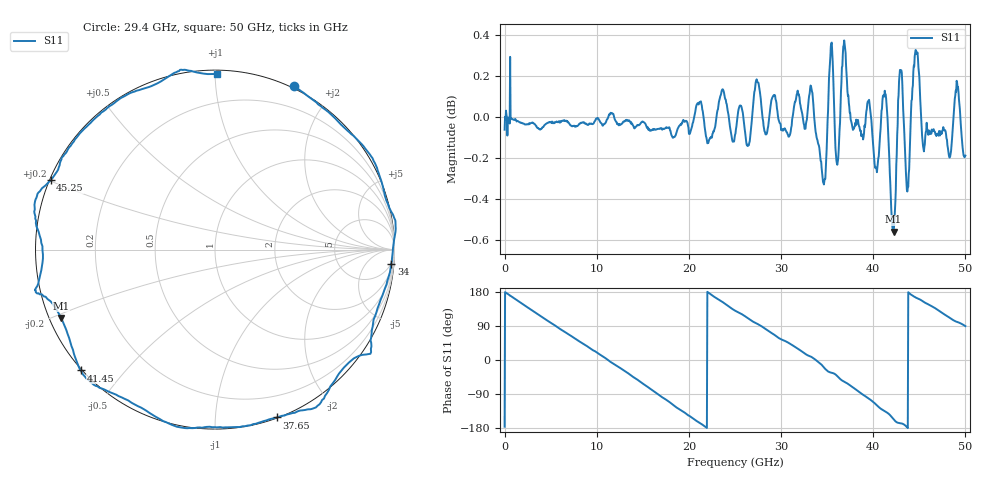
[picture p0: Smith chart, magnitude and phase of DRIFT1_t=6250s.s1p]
!Created with skrf (http://scikit-rf.org).
# Hz S RI R 50.0
!freq ReS11 ImS11
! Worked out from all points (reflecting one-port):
!   1001 points, 300 kHz to 50 GHz, reference 50 ohm
!   lowest |S11| = -0.6 dB at 42.2 GHz (marker M1), VSWR 31.16, Z = 1.68 - j10.6 ohm
!   phase of S11 starts at -176 deg and turns -815 deg over the sweep
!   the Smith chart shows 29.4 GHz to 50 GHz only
!   S11 on the Smith chart (normalised r, x): 29.4 GHz: -0.02, +1.59; 34 GHz: 4, -24; 37.65 GHz: 0.01, -1.44; 41.45 GHz: -0.00, -0.38; 45.25 GHz: 0.00, +0.20; 50 GHz: 0.02, +1.01
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300000  -0.9904 -0.0686
1.550291e9  -0.8991 0.4312
3.30028e9  -0.5812 0.8086
6.250262e9  0.2008 0.9775
9.500243e9  0.89 0.4473
1.115023e10  0.9985 0.0207
1.250022e10  0.933 -0.3475
1.580021e10  0.2423 -0.9622
1.73502e10  -0.2084 -0.9713
1.875019e10  -0.5945 -0.7953
2.155017e10  -0.9918 -0.1376
2.350016e10  -0.9213 0.4214
2.500015e10  -0.6406 0.7547
2.735014e10  -0.1098 1.015
2.940012e10  0.4391 0.9094
3.125011e10  0.7811 0.6246
3.40001e10  0.9824 -0.0789
3.520009e10  0.8715 -0.5337
3.750008e10  0.3868 -0.9246
3.765007e10  0.3454 -0.9349
3.950006e10  -0.1959 -0.99
4.145005e10  -0.7482 -0.6732
4.220005e10  -0.8572 -0.3803
4.290004e10  -0.9988 -0.2374
4.375004e10  -0.9612 -0.0048
4.525003e10  -0.9163 0.3868
4.775001e10  -0.4943 0.8607
5e10  0.0111 0.9785
